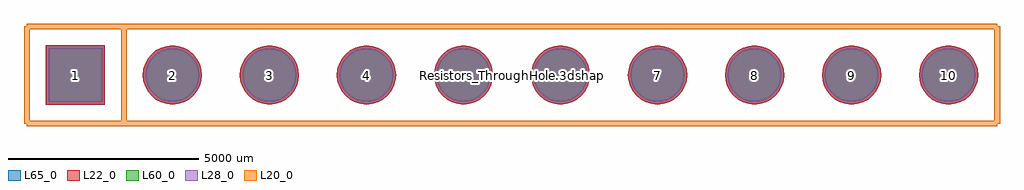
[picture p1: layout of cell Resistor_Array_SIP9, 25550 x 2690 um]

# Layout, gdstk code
import gdstk
lib = gdstk.Library(unit=1e-6, precision=1e-09)
def R(c, l, rs):  # rectangles x0, y0, x1, y1
    for r in rs: c.add(gdstk.rectangle(r[:2], r[2:], *l))
def P(c, l, *ps):  # polygons
    for p in ps: c.add(gdstk.Polygon(p, *l))
L20_0 = (20, 0)
L22_0 = (22, 0)
L28_0 = (28, 0)
L60_0 = (60, 0)
L65_0 = (65, 0)

resistor_array_sip9 = lib.new_cell('Resistor_Array_SIP9')
R(resistor_array_sip9, L22_0, [(-12203.5,-773.5,-10656.5,773.5)])
P(resistor_array_sip9, L22_0, [(12203.5,0),(12188.637,150.902),(12144.621,296.006),(12073.142,429.734),(11976.947,546.947),(11859.734,643.142),(11726.006,714.621),(11580.902,758.637),(11430,773.5),(11279.098,758.637),(11133.994,714.621),(11000.266,643.142),(10883.053,546.947),(10786.858,429.734),(10715.379,296.006),(10671.363,150.902),(10656.5,0),(10671.363,-150.902),(10715.379,-296.006),(10786.858,-429.734),(10883.053,-546.947),(11000.266,-643.142),(11133.994,-714.621),(11279.098,-758.637),(11430,-773.5),(11580.902,-758.637),(11726.006,-714.621),(11859.734,-643.142),(11976.947,-546.947),(12073.142,-429.734),(12144.621,-296.006),(12188.637,-150.902)],
  [(9663.5,0),(9648.637,150.902),(9604.621,296.006),(9533.142,429.734),(9436.947,546.947),(9319.734,643.142),(9186.006,714.621),(9040.902,758.637),(8890,773.5),(8739.098,758.637),(8593.994,714.621),(8460.266,643.142),(8343.053,546.947),(8246.858,429.734),(8175.379,296.006),(8131.363,150.902),(8116.5,0),(8131.363,-150.902),(8175.379,-296.006),(8246.858,-429.734),(8343.053,-546.947),(8460.266,-643.142),(8593.994,-714.621),(8739.098,-758.637),(8890,-773.5),(9040.902,-758.637),(9186.006,-714.621),(9319.734,-643.142),(9436.947,-546.947),(9533.142,-429.734),(9604.621,-296.006),(9648.637,-150.902)],
  [(7123.5,0),(7108.637,150.902),(7064.621,296.006),(6993.142,429.734),(6896.947,546.947),(6779.734,643.142),(6646.006,714.621),(6500.902,758.637),(6350,773.5),(6199.098,758.637),(6053.994,714.621),(5920.266,643.142),(5803.053,546.947),(5706.858,429.734),(5635.379,296.006),(5591.363,150.902),(5576.5,0),(5591.363,-150.902),(5635.379,-296.006),(5706.858,-429.734),(5803.053,-546.947),(5920.266,-643.142),(6053.994,-714.621),(6199.098,-758.637),(6350,-773.5),(6500.902,-758.637),(6646.006,-714.621),(6779.734,-643.142),(6896.947,-546.947),(6993.142,-429.734),(7064.621,-296.006),(7108.637,-150.902)],
  [(4583.5,0),(4568.637,150.902),(4524.621,296.006),(4453.142,429.734),(4356.947,546.947),(4239.734,643.142),(4106.006,714.621),(3960.902,758.637),(3810,773.5),(3659.098,758.637),(3513.994,714.621),(3380.266,643.142),(3263.053,546.947),(3166.858,429.734),(3095.379,296.006),(3051.363,150.902),(3036.5,0),(3051.363,-150.902),(3095.379,-296.006),(3166.858,-429.734),(3263.053,-546.947),(3380.266,-643.142),(3513.994,-714.621),(3659.098,-758.637),(3810,-773.5),(3960.902,-758.637),(4106.006,-714.621),(4239.734,-643.142),(4356.947,-546.947),(4453.142,-429.734),(4524.621,-296.006),(4568.637,-150.902)],
  [(2043.5,0),(2028.637,150.902),(1984.621,296.006),(1913.142,429.734),(1816.947,546.947),(1699.734,643.142),(1566.006,714.621),(1420.902,758.637),(1270,773.5),(1119.098,758.637),(973.994,714.621),(840.266,643.142),(723.053,546.947),(626.858,429.734),(555.379,296.006),(511.363,150.902),(496.5,0),(511.363,-150.902),(555.379,-296.006),(626.858,-429.734),(723.053,-546.947),(840.266,-643.142),(973.994,-714.621),(1119.098,-758.637),(1270,-773.5),(1420.902,-758.637),(1566.006,-714.621),(1699.734,-643.142),(1816.947,-546.947),(1913.142,-429.734),(1984.621,-296.006),(2028.637,-150.902)],
  [(-496.5,0),(-511.363,150.902),(-555.379,296.006),(-626.858,429.734),(-723.053,546.947),(-840.266,643.142),(-973.994,714.621),(-1119.098,758.637),(-1270,773.5),(-1420.902,758.637),(-1566.006,714.621),(-1699.734,643.142),(-1816.947,546.947),(-1913.142,429.734),(-1984.621,296.006),(-2028.637,150.902),(-2043.5,0),(-2028.637,-150.902),(-1984.621,-296.006),(-1913.142,-429.734),(-1816.947,-546.947),(-1699.734,-643.142),(-1566.006,-714.621),(-1420.902,-758.637),(-1270,-773.5),(-1119.098,-758.637),(-973.994,-714.621),(-840.266,-643.142),(-723.053,-546.947),(-626.858,-429.734),(-555.379,-296.006),(-511.363,-150.902)],
  [(-3036.5,0),(-3051.363,150.902),(-3095.379,296.006),(-3166.858,429.734),(-3263.053,546.947),(-3380.266,643.142),(-3513.994,714.621),(-3659.098,758.637),(-3810,773.5),(-3960.902,758.637),(-4106.006,714.621),(-4239.734,643.142),(-4356.947,546.947),(-4453.142,429.734),(-4524.621,296.006),(-4568.637,150.902),(-4583.5,0),(-4568.637,-150.902),(-4524.621,-296.006),(-4453.142,-429.734),(-4356.947,-546.947),(-4239.734,-643.142),(-4106.006,-714.621),(-3960.902,-758.637),(-3810,-773.5),(-3659.098,-758.637),(-3513.994,-714.621),(-3380.266,-643.142),(-3263.053,-546.947),(-3166.858,-429.734),(-3095.379,-296.006),(-3051.363,-150.902)],
  [(-5576.5,0),(-5591.363,150.902),(-5635.379,296.006),(-5706.858,429.734),(-5803.053,546.947),(-5920.266,643.142),(-6053.994,714.621),(-6199.098,758.637),(-6350,773.5),(-6500.902,758.637),(-6646.006,714.621),(-6779.734,643.142),(-6896.947,546.947),(-6993.142,429.734),(-7064.621,296.006),(-7108.637,150.902),(-7123.5,0),(-7108.637,-150.902),(-7064.621,-296.006),(-6993.142,-429.734),(-6896.947,-546.947),(-6779.734,-643.142),(-6646.006,-714.621),(-6500.902,-758.637),(-6350,-773.5),(-6199.098,-758.637),(-6053.994,-714.621),(-5920.266,-643.142),(-5803.053,-546.947),(-5706.858,-429.734),(-5635.379,-296.006),(-5591.363,-150.902)],
  [(-8116.5,0),(-8131.363,150.902),(-8175.379,296.006),(-8246.858,429.734),(-8343.053,546.947),(-8460.266,643.142),(-8593.994,714.621),(-8739.098,758.637),(-8890,773.5),(-9040.902,758.637),(-9186.006,714.621),(-9319.734,643.142),(-9436.947,546.947),(-9533.142,429.734),(-9604.621,296.006),(-9648.637,150.902),(-9663.5,0),(-9648.637,-150.902),(-9604.621,-296.006),(-9533.142,-429.734),(-9436.947,-546.947),(-9319.734,-643.142),(-9186.006,-714.621),(-9040.902,-758.637),(-8890,-773.5),(-8739.098,-758.637),(-8593.994,-714.621),(-8460.266,-643.142),(-8343.053,-546.947),(-8246.858,-429.734),(-8175.379,-296.006),(-8131.363,-150.902)])
R(resistor_array_sip9, L28_0, [(-12128.5,-698.5,-10731.5,698.5)])
P(resistor_array_sip9, L28_0, [(12128.5,0),(12115.079,136.271),(12075.33,267.304),(12010.782,388.066),(11923.914,493.914),(11818.066,580.782),(11697.304,645.33),(11566.271,685.079),(11430,698.5),(11293.729,685.079),(11162.696,645.33),(11041.934,580.782),(10936.086,493.914),(10849.218,388.066),(10784.67,267.304),(10744.921,136.271),(10731.5,0),(10744.921,-136.271),(10784.67,-267.304),(10849.218,-388.066),(10936.086,-493.914),(11041.934,-580.782),(11162.696,-645.33),(11293.729,-685.079),(11430,-698.5),(11566.271,-685.079),(11697.304,-645.33),(11818.066,-580.782),(11923.914,-493.914),(12010.782,-388.066),(12075.33,-267.304),(12115.079,-136.271)],
  [(9588.5,0),(9575.079,136.271),(9535.33,267.304),(9470.782,388.066),(9383.914,493.914),(9278.066,580.782),(9157.304,645.33),(9026.271,685.079),(8890,698.5),(8753.729,685.079),(8622.696,645.33),(8501.934,580.782),(8396.086,493.914),(8309.218,388.066),(8244.67,267.304),(8204.921,136.271),(8191.5,0),(8204.921,-136.271),(8244.67,-267.304),(8309.218,-388.066),(8396.086,-493.914),(8501.934,-580.782),(8622.696,-645.33),(8753.729,-685.079),(8890,-698.5),(9026.271,-685.079),(9157.304,-645.33),(9278.066,-580.782),(9383.914,-493.914),(9470.782,-388.066),(9535.33,-267.304),(9575.079,-136.271)],
  [(7048.5,0),(7035.079,136.271),(6995.33,267.304),(6930.782,388.066),(6843.914,493.914),(6738.066,580.782),(6617.304,645.33),(6486.271,685.079),(6350,698.5),(6213.729,685.079),(6082.696,645.33),(5961.934,580.782),(5856.086,493.914),(5769.218,388.066),(5704.67,267.304),(5664.921,136.271),(5651.5,0),(5664.921,-136.271),(5704.67,-267.304),(5769.218,-388.066),(5856.086,-493.914),(5961.934,-580.782),(6082.696,-645.33),(6213.729,-685.079),(6350,-698.5),(6486.271,-685.079),(6617.304,-645.33),(6738.066,-580.782),(6843.914,-493.914),(6930.782,-388.066),(6995.33,-267.304),(7035.079,-136.271)],
  [(4508.5,0),(4495.079,136.271),(4455.33,267.304),(4390.782,388.066),(4303.914,493.914),(4198.066,580.782),(4077.304,645.33),(3946.271,685.079),(3810,698.5),(3673.729,685.079),(3542.696,645.33),(3421.934,580.782),(3316.086,493.914),(3229.218,388.066),(3164.67,267.304),(3124.921,136.271),(3111.5,0),(3124.921,-136.271),(3164.67,-267.304),(3229.218,-388.066),(3316.086,-493.914),(3421.934,-580.782),(3542.696,-645.33),(3673.729,-685.079),(3810,-698.5),(3946.271,-685.079),(4077.304,-645.33),(4198.066,-580.782),(4303.914,-493.914),(4390.782,-388.066),(4455.33,-267.304),(4495.079,-136.271)],
  [(1968.5,0),(1955.079,136.271),(1915.33,267.304),(1850.782,388.066),(1763.914,493.914),(1658.066,580.782),(1537.304,645.33),(1406.271,685.079),(1270,698.5),(1133.729,685.079),(1002.696,645.33),(881.934,580.782),(776.086,493.914),(689.218,388.066),(624.67,267.304),(584.921,136.271),(571.5,0),(584.921,-136.271),(624.67,-267.304),(689.218,-388.066),(776.086,-493.914),(881.934,-580.782),(1002.696,-645.33),(1133.729,-685.079),(1270,-698.5),(1406.271,-685.079),(1537.304,-645.33),(1658.066,-580.782),(1763.914,-493.914),(1850.782,-388.066),(1915.33,-267.304),(1955.079,-136.271)],
  [(-571.5,0),(-584.921,136.271),(-624.67,267.304),(-689.218,388.066),(-776.086,493.914),(-881.934,580.782),(-1002.696,645.33),(-1133.729,685.079),(-1270,698.5),(-1406.271,685.079),(-1537.304,645.33),(-1658.066,580.782),(-1763.914,493.914),(-1850.782,388.066),(-1915.33,267.304),(-1955.079,136.271),(-1968.5,0),(-1955.079,-136.271),(-1915.33,-267.304),(-1850.782,-388.066),(-1763.914,-493.914),(-1658.066,-580.782),(-1537.304,-645.33),(-1406.271,-685.079),(-1270,-698.5),(-1133.729,-685.079),(-1002.696,-645.33),(-881.934,-580.782),(-776.086,-493.914),(-689.218,-388.066),(-624.67,-267.304),(-584.921,-136.271)],
  [(-3111.5,0),(-3124.921,136.271),(-3164.67,267.304),(-3229.218,388.066),(-3316.086,493.914),(-3421.934,580.782),(-3542.696,645.33),(-3673.729,685.079),(-3810,698.5),(-3946.271,685.079),(-4077.304,645.33),(-4198.066,580.782),(-4303.914,493.914),(-4390.782,388.066),(-4455.33,267.304),(-4495.079,136.271),(-4508.5,0),(-4495.079,-136.271),(-4455.33,-267.304),(-4390.782,-388.066),(-4303.914,-493.914),(-4198.066,-580.782),(-4077.304,-645.33),(-3946.271,-685.079),(-3810,-698.5),(-3673.729,-685.079),(-3542.696,-645.33),(-3421.934,-580.782),(-3316.086,-493.914),(-3229.218,-388.066),(-3164.67,-267.304),(-3124.921,-136.271)],
  [(-5651.5,0),(-5664.921,136.271),(-5704.67,267.304),(-5769.218,388.066),(-5856.086,493.914),(-5961.934,580.782),(-6082.696,645.33),(-6213.729,685.079),(-6350,698.5),(-6486.271,685.079),(-6617.304,645.33),(-6738.066,580.782),(-6843.914,493.914),(-6930.782,388.066),(-6995.33,267.304),(-7035.079,136.271),(-7048.5,0),(-7035.079,-136.271),(-6995.33,-267.304),(-6930.782,-388.066),(-6843.914,-493.914),(-6738.066,-580.782),(-6617.304,-645.33),(-6486.271,-685.079),(-6350,-698.5),(-6213.729,-685.079),(-6082.696,-645.33),(-5961.934,-580.782),(-5856.086,-493.914),(-5769.218,-388.066),(-5704.67,-267.304),(-5664.921,-136.271)],
  [(-8191.5,0),(-8204.921,136.271),(-8244.67,267.304),(-8309.218,388.066),(-8396.086,493.914),(-8501.934,580.782),(-8622.696,645.33),(-8753.729,685.079),(-8890,698.5),(-9026.271,685.079),(-9157.304,645.33),(-9278.066,580.782),(-9383.914,493.914),(-9470.782,388.066),(-9535.33,267.304),(-9575.079,136.271),(-9588.5,0),(-9575.079,-136.271),(-9535.33,-267.304),(-9470.782,-388.066),(-9383.914,-493.914),(-9278.066,-580.782),(-9157.304,-645.33),(-9026.271,-685.079),(-8890,-698.5),(-8753.729,-685.079),(-8622.696,-645.33),(-8501.934,-580.782),(-8396.086,-493.914),(-8309.218,-388.066),(-8244.67,-267.304),(-8204.921,-136.271)])
R(resistor_array_sip9, L60_0, [(-12128.5,-698.5,-10731.5,698.5)])
P(resistor_array_sip9, L60_0, [(12128.5,0),(12115.079,136.271),(12075.33,267.304),(12010.782,388.066),(11923.914,493.914),(11818.066,580.782),(11697.304,645.33),(11566.271,685.079),(11430,698.5),(11293.729,685.079),(11162.696,645.33),(11041.934,580.782),(10936.086,493.914),(10849.218,388.066),(10784.67,267.304),(10744.921,136.271),(10731.5,0),(10744.921,-136.271),(10784.67,-267.304),(10849.218,-388.066),(10936.086,-493.914),(11041.934,-580.782),(11162.696,-645.33),(11293.729,-685.079),(11430,-698.5),(11566.271,-685.079),(11697.304,-645.33),(11818.066,-580.782),(11923.914,-493.914),(12010.782,-388.066),(12075.33,-267.304),(12115.079,-136.271)],
  [(9588.5,0),(9575.079,136.271),(9535.33,267.304),(9470.782,388.066),(9383.914,493.914),(9278.066,580.782),(9157.304,645.33),(9026.271,685.079),(8890,698.5),(8753.729,685.079),(8622.696,645.33),(8501.934,580.782),(8396.086,493.914),(8309.218,388.066),(8244.67,267.304),(8204.921,136.271),(8191.5,0),(8204.921,-136.271),(8244.67,-267.304),(8309.218,-388.066),(8396.086,-493.914),(8501.934,-580.782),(8622.696,-645.33),(8753.729,-685.079),(8890,-698.5),(9026.271,-685.079),(9157.304,-645.33),(9278.066,-580.782),(9383.914,-493.914),(9470.782,-388.066),(9535.33,-267.304),(9575.079,-136.271)],
  [(7048.5,0),(7035.079,136.271),(6995.33,267.304),(6930.782,388.066),(6843.914,493.914),(6738.066,580.782),(6617.304,645.33),(6486.271,685.079),(6350,698.5),(6213.729,685.079),(6082.696,645.33),(5961.934,580.782),(5856.086,493.914),(5769.218,388.066),(5704.67,267.304),(5664.921,136.271),(5651.5,0),(5664.921,-136.271),(5704.67,-267.304),(5769.218,-388.066),(5856.086,-493.914),(5961.934,-580.782),(6082.696,-645.33),(6213.729,-685.079),(6350,-698.5),(6486.271,-685.079),(6617.304,-645.33),(6738.066,-580.782),(6843.914,-493.914),(6930.782,-388.066),(6995.33,-267.304),(7035.079,-136.271)],
  [(4508.5,0),(4495.079,136.271),(4455.33,267.304),(4390.782,388.066),(4303.914,493.914),(4198.066,580.782),(4077.304,645.33),(3946.271,685.079),(3810,698.5),(3673.729,685.079),(3542.696,645.33),(3421.934,580.782),(3316.086,493.914),(3229.218,388.066),(3164.67,267.304),(3124.921,136.271),(3111.5,0),(3124.921,-136.271),(3164.67,-267.304),(3229.218,-388.066),(3316.086,-493.914),(3421.934,-580.782),(3542.696,-645.33),(3673.729,-685.079),(3810,-698.5),(3946.271,-685.079),(4077.304,-645.33),(4198.066,-580.782),(4303.914,-493.914),(4390.782,-388.066),(4455.33,-267.304),(4495.079,-136.271)],
  [(1968.5,0),(1955.079,136.271),(1915.33,267.304),(1850.782,388.066),(1763.914,493.914),(1658.066,580.782),(1537.304,645.33),(1406.271,685.079),(1270,698.5),(1133.729,685.079),(1002.696,645.33),(881.934,580.782),(776.086,493.914),(689.218,388.066),(624.67,267.304),(584.921,136.271),(571.5,0),(584.921,-136.271),(624.67,-267.304),(689.218,-388.066),(776.086,-493.914),(881.934,-580.782),(1002.696,-645.33),(1133.729,-685.079),(1270,-698.5),(1406.271,-685.079),(1537.304,-645.33),(1658.066,-580.782),(1763.914,-493.914),(1850.782,-388.066),(1915.33,-267.304),(1955.079,-136.271)],
  [(-571.5,0),(-584.921,136.271),(-624.67,267.304),(-689.218,388.066),(-776.086,493.914),(-881.934,580.782),(-1002.696,645.33),(-1133.729,685.079),(-1270,698.5),(-1406.271,685.079),(-1537.304,645.33),(-1658.066,580.782),(-1763.914,493.914),(-1850.782,388.066),(-1915.33,267.304),(-1955.079,136.271),(-1968.5,0),(-1955.079,-136.271),(-1915.33,-267.304),(-1850.782,-388.066),(-1763.914,-493.914),(-1658.066,-580.782),(-1537.304,-645.33),(-1406.271,-685.079),(-1270,-698.5),(-1133.729,-685.079),(-1002.696,-645.33),(-881.934,-580.782),(-776.086,-493.914),(-689.218,-388.066),(-624.67,-267.304),(-584.921,-136.271)],
  [(-3111.5,0),(-3124.921,136.271),(-3164.67,267.304),(-3229.218,388.066),(-3316.086,493.914),(-3421.934,580.782),(-3542.696,645.33),(-3673.729,685.079),(-3810,698.5),(-3946.271,685.079),(-4077.304,645.33),(-4198.066,580.782),(-4303.914,493.914),(-4390.782,388.066),(-4455.33,267.304),(-4495.079,136.271),(-4508.5,0),(-4495.079,-136.271),(-4455.33,-267.304),(-4390.782,-388.066),(-4303.914,-493.914),(-4198.066,-580.782),(-4077.304,-645.33),(-3946.271,-685.079),(-3810,-698.5),(-3673.729,-685.079),(-3542.696,-645.33),(-3421.934,-580.782),(-3316.086,-493.914),(-3229.218,-388.066),(-3164.67,-267.304),(-3124.921,-136.271)],
  [(-5651.5,0),(-5664.921,136.271),(-5704.67,267.304),(-5769.218,388.066),(-5856.086,493.914),(-5961.934,580.782),(-6082.696,645.33),(-6213.729,685.079),(-6350,698.5),(-6486.271,685.079),(-6617.304,645.33),(-6738.066,580.782),(-6843.914,493.914),(-6930.782,388.066),(-6995.33,267.304),(-7035.079,136.271),(-7048.5,0),(-7035.079,-136.271),(-6995.33,-267.304),(-6930.782,-388.066),(-6843.914,-493.914),(-6738.066,-580.782),(-6617.304,-645.33),(-6486.271,-685.079),(-6350,-698.5),(-6213.729,-685.079),(-6082.696,-645.33),(-5961.934,-580.782),(-5856.086,-493.914),(-5769.218,-388.066),(-5704.67,-267.304),(-5664.921,-136.271)],
  [(-8191.5,0),(-8204.921,136.271),(-8244.67,267.304),(-8309.218,388.066),(-8396.086,493.914),(-8501.934,580.782),(-8622.696,645.33),(-8753.729,685.079),(-8890,698.5),(-9026.271,685.079),(-9157.304,645.33),(-9278.066,580.782),(-9383.914,493.914),(-9470.782,388.066),(-9535.33,267.304),(-9575.079,136.271),(-9588.5,0),(-9575.079,-136.271),(-9535.33,-267.304),(-9470.782,-388.066),(-9383.914,-493.914),(-9278.066,-580.782),(-9157.304,-645.33),(-9026.271,-685.079),(-8890,-698.5),(-8753.729,-685.079),(-8622.696,-645.33),(-8501.934,-580.782),(-8396.086,-493.914),(-8309.218,-388.066),(-8244.67,-267.304),(-8204.921,-136.271)])
R(resistor_array_sip9, L65_0, [(-12203.5,-773.5,-10656.5,773.5)])
P(resistor_array_sip9, L65_0, [(12203.5,0),(12188.637,150.902),(12144.621,296.006),(12073.142,429.734),(11976.947,546.947),(11859.734,643.142),(11726.006,714.621),(11580.902,758.637),(11430,773.5),(11279.098,758.637),(11133.994,714.621),(11000.266,643.142),(10883.053,546.947),(10786.858,429.734),(10715.379,296.006),(10671.363,150.902),(10656.5,0),(10671.363,-150.902),(10715.379,-296.006),(10786.858,-429.734),(10883.053,-546.947),(11000.266,-643.142),(11133.994,-714.621),(11279.098,-758.637),(11430,-773.5),(11580.902,-758.637),(11726.006,-714.621),(11859.734,-643.142),(11976.947,-546.947),(12073.142,-429.734),(12144.621,-296.006),(12188.637,-150.902)],
  [(9663.5,0),(9648.637,150.902),(9604.621,296.006),(9533.142,429.734),(9436.947,546.947),(9319.734,643.142),(9186.006,714.621),(9040.902,758.637),(8890,773.5),(8739.098,758.637),(8593.994,714.621),(8460.266,643.142),(8343.053,546.947),(8246.858,429.734),(8175.379,296.006),(8131.363,150.902),(8116.5,0),(8131.363,-150.902),(8175.379,-296.006),(8246.858,-429.734),(8343.053,-546.947),(8460.266,-643.142),(8593.994,-714.621),(8739.098,-758.637),(8890,-773.5),(9040.902,-758.637),(9186.006,-714.621),(9319.734,-643.142),(9436.947,-546.947),(9533.142,-429.734),(9604.621,-296.006),(9648.637,-150.902)],
  [(7123.5,0),(7108.637,150.902),(7064.621,296.006),(6993.142,429.734),(6896.947,546.947),(6779.734,643.142),(6646.006,714.621),(6500.902,758.637),(6350,773.5),(6199.098,758.637),(6053.994,714.621),(5920.266,643.142),(5803.053,546.947),(5706.858,429.734),(5635.379,296.006),(5591.363,150.902),(5576.5,0),(5591.363,-150.902),(5635.379,-296.006),(5706.858,-429.734),(5803.053,-546.947),(5920.266,-643.142),(6053.994,-714.621),(6199.098,-758.637),(6350,-773.5),(6500.902,-758.637),(6646.006,-714.621),(6779.734,-643.142),(6896.947,-546.947),(6993.142,-429.734),(7064.621,-296.006),(7108.637,-150.902)],
  [(4583.5,0),(4568.637,150.902),(4524.621,296.006),(4453.142,429.734),(4356.947,546.947),(4239.734,643.142),(4106.006,714.621),(3960.902,758.637),(3810,773.5),(3659.098,758.637),(3513.994,714.621),(3380.266,643.142),(3263.053,546.947),(3166.858,429.734),(3095.379,296.006),(3051.363,150.902),(3036.5,0),(3051.363,-150.902),(3095.379,-296.006),(3166.858,-429.734),(3263.053,-546.947),(3380.266,-643.142),(3513.994,-714.621),(3659.098,-758.637),(3810,-773.5),(3960.902,-758.637),(4106.006,-714.621),(4239.734,-643.142),(4356.947,-546.947),(4453.142,-429.734),(4524.621,-296.006),(4568.637,-150.902)],
  [(2043.5,0),(2028.637,150.902),(1984.621,296.006),(1913.142,429.734),(1816.947,546.947),(1699.734,643.142),(1566.006,714.621),(1420.902,758.637),(1270,773.5),(1119.098,758.637),(973.994,714.621),(840.266,643.142),(723.053,546.947),(626.858,429.734),(555.379,296.006),(511.363,150.902),(496.5,0),(511.363,-150.902),(555.379,-296.006),(626.858,-429.734),(723.053,-546.947),(840.266,-643.142),(973.994,-714.621),(1119.098,-758.637),(1270,-773.5),(1420.902,-758.637),(1566.006,-714.621),(1699.734,-643.142),(1816.947,-546.947),(1913.142,-429.734),(1984.621,-296.006),(2028.637,-150.902)],
  [(-496.5,0),(-511.363,150.902),(-555.379,296.006),(-626.858,429.734),(-723.053,546.947),(-840.266,643.142),(-973.994,714.621),(-1119.098,758.637),(-1270,773.5),(-1420.902,758.637),(-1566.006,714.621),(-1699.734,643.142),(-1816.947,546.947),(-1913.142,429.734),(-1984.621,296.006),(-2028.637,150.902),(-2043.5,0),(-2028.637,-150.902),(-1984.621,-296.006),(-1913.142,-429.734),(-1816.947,-546.947),(-1699.734,-643.142),(-1566.006,-714.621),(-1420.902,-758.637),(-1270,-773.5),(-1119.098,-758.637),(-973.994,-714.621),(-840.266,-643.142),(-723.053,-546.947),(-626.858,-429.734),(-555.379,-296.006),(-511.363,-150.902)],
  [(-3036.5,0),(-3051.363,150.902),(-3095.379,296.006),(-3166.858,429.734),(-3263.053,546.947),(-3380.266,643.142),(-3513.994,714.621),(-3659.098,758.637),(-3810,773.5),(-3960.902,758.637),(-4106.006,714.621),(-4239.734,643.142),(-4356.947,546.947),(-4453.142,429.734),(-4524.621,296.006),(-4568.637,150.902),(-4583.5,0),(-4568.637,-150.902),(-4524.621,-296.006),(-4453.142,-429.734),(-4356.947,-546.947),(-4239.734,-643.142),(-4106.006,-714.621),(-3960.902,-758.637),(-3810,-773.5),(-3659.098,-758.637),(-3513.994,-714.621),(-3380.266,-643.142),(-3263.053,-546.947),(-3166.858,-429.734),(-3095.379,-296.006),(-3051.363,-150.902)],
  [(-5576.5,0),(-5591.363,150.902),(-5635.379,296.006),(-5706.858,429.734),(-5803.053,546.947),(-5920.266,643.142),(-6053.994,714.621),(-6199.098,758.637),(-6350,773.5),(-6500.902,758.637),(-6646.006,714.621),(-6779.734,643.142),(-6896.947,546.947),(-6993.142,429.734),(-7064.621,296.006),(-7108.637,150.902),(-7123.5,0),(-7108.637,-150.902),(-7064.621,-296.006),(-6993.142,-429.734),(-6896.947,-546.947),(-6779.734,-643.142),(-6646.006,-714.621),(-6500.902,-758.637),(-6350,-773.5),(-6199.098,-758.637),(-6053.994,-714.621),(-5920.266,-643.142),(-5803.053,-546.947),(-5706.858,-429.734),(-5635.379,-296.006),(-5591.363,-150.902)],
  [(-8116.5,0),(-8131.363,150.902),(-8175.379,296.006),(-8246.858,429.734),(-8343.053,546.947),(-8460.266,643.142),(-8593.994,714.621),(-8739.098,758.637),(-8890,773.5),(-9040.902,758.637),(-9186.006,714.621),(-9319.734,643.142),(-9436.947,546.947),(-9533.142,429.734),(-9604.621,296.006),(-9648.637,150.902),(-9663.5,0),(-9648.637,-150.902),(-9604.621,-296.006),(-9533.142,-429.734),(-9436.947,-546.947),(-9319.734,-643.142),(-9186.006,-714.621),(-9040.902,-758.637),(-8890,-773.5),(-8739.098,-758.637),(-8593.994,-714.621),(-8460.266,-643.142),(-8343.053,-546.947),(-8246.858,-429.734),(-8175.379,-296.006),(-8131.363,-150.902)])
resistor_array_sip9.add(gdstk.FlexPath([(-10160,-1270),(-10160,1270)], 149.998, ends="flush", simple_path=True, layer=20, datatype=0))  # L20_0
resistor_array_sip9.add(gdstk.FlexPath([(12700,-1270),(-12700,-1270)], 149.998, ends="flush", simple_path=True, layer=20, datatype=0))  # L20_0
resistor_array_sip9.add(gdstk.FlexPath([(12700,1270),(12700,-1270)], 149.998, ends="flush", simple_path=True, layer=20, datatype=0))  # L20_0
resistor_array_sip9.add(gdstk.FlexPath([(-12700,1270),(12700,1270)], 149.998, ends="flush", simple_path=True, layer=20, datatype=0))  # L20_0
resistor_array_sip9.add(gdstk.FlexPath([(-12700,-1270),(-12700,1270)], 149.998, ends="flush", simple_path=True, layer=20, datatype=0))  # L20_0
resistor_array_sip9.add(gdstk.Label('Resistors_ThroughHole.3dshapes/Resistor_Array_SIP9.wrl', (0,0), layer=12, texttype=0))
resistor_array_sip9.add(gdstk.Label('10', (11430,0), layer=28, texttype=0))
resistor_array_sip9.add(gdstk.Label('9', (8890,0), layer=28, texttype=0))
resistor_array_sip9.add(gdstk.Label('8', (6350,0), layer=28, texttype=0))
resistor_array_sip9.add(gdstk.Label('7', (3810,0), layer=28, texttype=0))
resistor_array_sip9.add(gdstk.Label('6', (1270,0), layer=28, texttype=0))
resistor_array_sip9.add(gdstk.Label('5', (-1270,0), layer=28, texttype=0))
resistor_array_sip9.add(gdstk.Label('4', (-3810,0), layer=28, texttype=0))
resistor_array_sip9.add(gdstk.Label('3', (-6350,0), layer=28, texttype=0))
resistor_array_sip9.add(gdstk.Label('2', (-8890,0), layer=28, texttype=0))
resistor_array_sip9.add(gdstk.Label('1', (-11430,0), layer=28, texttype=0))
resistor_array_sip9.add(gdstk.Label('type', (-762,-2286), layer=9, texttype=0))
resistor_array_sip9.add(gdstk.Label('devicename', (-1016,2540), layer=9, texttype=0))

lib.write_gds('Resistor_Array_SIP9.gds')
